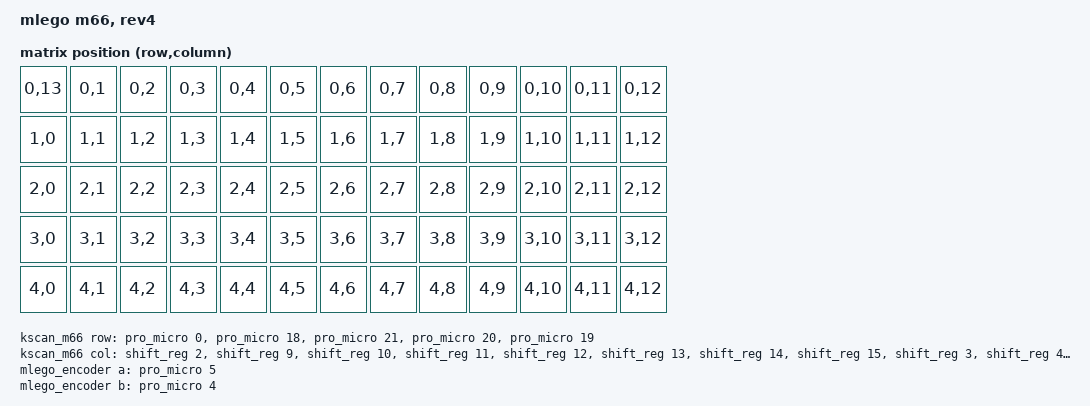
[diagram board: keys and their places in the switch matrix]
/*
 * Copyright (c) 2022-2024 alin m elena
 * SPDX-License-Identifier: MIT
 */

#include <dt-bindings/zmk/matrix_transform.h>
#include <physical_layouts.dtsi>

/ {
   model = "mlego m66, rev4";

   //compatible = "nice-nano-v2";

    m66_layout: m66_layout {
        compatible = "zmk,physical-layout";
        display-name = "m66 default layout";
        kscan = <&kscan_m66>;
        transform = <&m66>;
        keys  //                     w   h    x    y     rot    rx    ry
            = <&key_physical_attrs 100 100    0    0       0     0     0>
            , <&key_physical_attrs 100 100  100    0       0     0     0>
            , <&key_physical_attrs 100 100  200    0       0     0     0>
            , <&key_physical_attrs 100 100  300    0       0     0     0>
            , <&key_physical_attrs 100 100  400    0       0     0     0>
            , <&key_physical_attrs 100 100  500    0       0     0     0>
            , <&key_physical_attrs 100 100  600    0       0     0     0>
            , <&key_physical_attrs 100 100  700    0       0     0     0>
            , <&key_physical_attrs 100 100  800    0       0     0     0>
            , <&key_physical_attrs 100 100  900    0       0     0     0>
            , <&key_physical_attrs 100 100 1000    0       0     0     0>
            , <&key_physical_attrs 100 100 1100    0       0     0     0>
            , <&key_physical_attrs 100 100 1200    0       0     0     0>
            , <&key_physical_attrs 100 100    0    0       0     0     0>
            , <&key_physical_attrs 100 100    0  100       0     0     0>
            , <&key_physical_attrs 100 100  100  100       0     0     0>
            , <&key_physical_attrs 100 100  200  100       0     0     0>
            , <&key_physical_attrs 100 100  300  100       0     0     0>
            , <&key_physical_attrs 100 100  400  100       0     0     0>
            , <&key_physical_attrs 100 100  500  100       0     0     0>
            , <&key_physical_attrs 100 100  600  100       0     0     0>
            , <&key_physical_attrs 100 100  700  100       0     0     0>
            , <&key_physical_attrs 100 100  800  100       0     0     0>
            , <&key_physical_attrs 100 100  900  100       0     0     0>
            , <&key_physical_attrs 100 100 1000  100       0     0     0>
            , <&key_physical_attrs 100 100 1100  100       0     0     0>
            , <&key_physical_attrs 100 100 1200  100       0     0     0>
            , <&key_physical_attrs 100 100    0  200       0     0     0>
            , <&key_physical_attrs 100 100  100  200       0     0     0>
            , <&key_physical_attrs 100 100  200  200       0     0     0>
            , <&key_physical_attrs 100 100  300  200       0     0     0>
            , <&key_physical_attrs 100 100  400  200       0     0     0>
            , <&key_physical_attrs 100 100  500  200       0     0     0>
            , <&key_physical_attrs 100 100  600  200       0     0     0>
            , <&key_physical_attrs 100 100  700  200       0     0     0>
            , <&key_physical_attrs 100 100  800  200       0     0     0>
            , <&key_physical_attrs 100 100  900  200       0     0     0>
            , <&key_physical_attrs 100 100 1000  200       0     0     0>
            , <&key_physical_attrs 100 100 1100  200       0     0     0>
            , <&key_physical_attrs 100 100 1200  200       0     0     0>
            , <&key_physical_attrs 100 100    0  300       0     0     0>
            , <&key_physical_attrs 100 100  100  300       0     0     0>
            , <&key_physical_attrs 100 100  200  300       0     0     0>
            , <&key_physical_attrs 100 100  300  300       0     0     0>
            , <&key_physical_attrs 100 100  400  300       0     0     0>
            , <&key_physical_attrs 100 100  500  300       0     0     0>
            , <&key_physical_attrs 100 100  600  300       0     0     0>
            , <&key_physical_attrs 100 100  700  300       0     0     0>
            , <&key_physical_attrs 100 100  800  300       0     0     0>
            , <&key_physical_attrs 100 100  900  300       0     0     0>
            , <&key_physical_attrs 100 100 1000  300       0     0     0>
            , <&key_physical_attrs 100 100 1100  300       0     0     0>
            , <&key_physical_attrs 100 100 1200  300       0     0     0>
            , <&key_physical_attrs 100 100    0  400       0     0     0>
            , <&key_physical_attrs 100 100  100  400       0     0     0>
            , <&key_physical_attrs 100 100  200  400       0     0     0>
            , <&key_physical_attrs 100 100  300  400       0     0     0>
            , <&key_physical_attrs 100 100  400  400       0     0     0>
            , <&key_physical_attrs 100 100  500  400       0     0     0>
            , <&key_physical_attrs 100 100  600  400       0     0     0>
            , <&key_physical_attrs 100 100  700  400       0     0     0>
            , <&key_physical_attrs 100 100  800  400       0     0     0>
            , <&key_physical_attrs 100 100  900  400       0     0     0>
            , <&key_physical_attrs 100 100 1000  400       0     0     0>
            , <&key_physical_attrs 100 100 1100  400       0     0     0>
            , <&key_physical_attrs 100 100 1200  400       0     0     0>
            ;
   };

   m66_position_map {
        compatible = "zmk,physical-layout-position-map";
        complete; 
        m66_layout_posmap: m66_layout {
            physical-layout = <&m66_layout>;
            positions
              = < 0  1  2  3  4  5  6  7  8  9 10 11 12 13>
              , <14 15 16 17 18 19 20 21 22 23 24 25 26>
              , <27 28 29 30 31 32 33 34 35 36 37 38 39>
              , <40 41 42 43 44 45 46 47 48 49 50 51 52>
              , <53 54 55 56 57 58 59 60 61 62 63 64 65>
            ;
        };
    };

   chosen {
/*
     zmk,kscan = &kscan_m66;
*/
     zephyr,console = &cdc_acm_uart;
   };

      m66: m66_0 {
        compatible = "zmk,matrix-transform";
        columns = <14>;
        rows = <5>;
/*
┌────┐
│ 0N │
├────┼────┬────┬────┬────┬────┬────┬────┬────┬────┬────┬────┬────┐
│ 0A │ 0B │ 0C │ 0D │ 0E │ 0F │ 0G │ 0H │ 0I │ 0J │ 0K │ 0L │ 0M │ 
├────┼────┼────┼────┼────┼────┼────┼────┼────┼────┼────┼────┼────┤
│ 1A │ 1B │ 1C │ 1D │ 1E │ 1F │ 1G │ 1H │ 1I │ 1J │ 1K │ 1L │ 1M │
├────┼────┼────┼────┼────┼────┼────┼────┼────┼────┼────┼────┼────┤
│ 2A │ 2B │ 2C │ 2D │ 2E │ 2F │ 2G │ 2H │ 2I │ 2J │ 2K │ 2L │ 2M │
├────┼────┼────┼────┼────┼────┼────┼────┼────┼────┼────┼────┼────┤
│ 3A │ 3B │ 3C │ 3D │ 3E │ 3F │ 3G │ 3H │ 3I │ 3J │ 3K │ 3L │ 3M │
├────┼────┼────┼────┼────┼────┼────┼────┼────┼────┼────┼────┼────┤
│ 4A │ 4B │ 4C │ 4D │ 4E │ 4F │ 4G │ 4H │ 4I │ 4J │ 4K │ 4L │ 4M │
└────┴────┴────┴────┴────┴────┴────┴────┴────┴────┴────┴────┴────┘

*/
        map = <
RC(0,0) RC(0,1) RC(0,2) RC(0,3)  RC(0,4) RC(0,5) RC(0,6) RC(0,7)  RC(0,8) RC(0,9) RC(0,10) RC(0,11) RC(0,12) RC(0,13)
RC(1,0) RC(1,1) RC(1,2) RC(1,3)  RC(1,4) RC(1,5) RC(1,6) RC(1,7)  RC(1,8) RC(1,9) RC(1,10) RC(1,11) RC(1,12) 
RC(2,0) RC(2,1) RC(2,2) RC(2,3)  RC(2,4) RC(2,5) RC(2,6) RC(2,7)  RC(2,8) RC(2,9) RC(2,10) RC(2,11) RC(2,12) 
RC(3,0) RC(3,1) RC(3,2) RC(3,3)  RC(3,4) RC(3,5) RC(3,6) RC(3,7)  RC(3,8) RC(3,9) RC(3,10) RC(3,11) RC(3,12) 
RC(4,0) RC(4,1) RC(4,2) RC(4,3)  RC(4,4) RC(4,5) RC(4,6) RC(4,7)  RC(4,8) RC(4,9) RC(4,10) RC(4,11) RC(4,12) 
        >;
    };
   kscan_m66: kscan_m66 {
     compatible = "zmk,kscan-gpio-matrix";
     diode-direction = "col2row";
     wakeup-source; 
     col-gpios =   <&shift_reg 2  (GPIO_ACTIVE_HIGH)>
                 , <&shift_reg 9  (GPIO_ACTIVE_HIGH)>
                 , <&shift_reg 10 (GPIO_ACTIVE_HIGH)>
                 , <&shift_reg 11 (GPIO_ACTIVE_HIGH)>
                 , <&shift_reg 12 (GPIO_ACTIVE_HIGH)>
                 , <&shift_reg 13 (GPIO_ACTIVE_HIGH)>
                 , <&shift_reg 14 (GPIO_ACTIVE_HIGH)>
                 , <&shift_reg 15 (GPIO_ACTIVE_HIGH)>
                 , <&shift_reg 3  (GPIO_ACTIVE_HIGH)>
                 , <&shift_reg 4  (GPIO_ACTIVE_HIGH)>
                 , <&shift_reg 5  (GPIO_ACTIVE_HIGH)>
                 , <&shift_reg 6  (GPIO_ACTIVE_HIGH)>
                 , <&shift_reg 7  (GPIO_ACTIVE_HIGH)>
                 , <&shift_reg 1  (GPIO_ACTIVE_HIGH)>
                 ;
     row-gpios =   <&pro_micro 0  (GPIO_ACTIVE_HIGH | GPIO_PULL_DOWN)>
                 , <&pro_micro 18 (GPIO_ACTIVE_HIGH | GPIO_PULL_DOWN)>
                 , <&pro_micro 21 (GPIO_ACTIVE_HIGH | GPIO_PULL_DOWN)>
                 , <&pro_micro 20 (GPIO_ACTIVE_HIGH | GPIO_PULL_DOWN)>
                 , <&pro_micro 19 (GPIO_ACTIVE_HIGH | GPIO_PULL_DOWN)>
                 ;
   };

   mlego_encoder: mlego_encoder {
     compatible = "alps,ec11";
     a-gpios = <&pro_micro 5 (GPIO_ACTIVE_HIGH )>;
     b-gpios = <&pro_micro 4 (GPIO_ACTIVE_HIGH )>;
     steps = <80>;
   };

   sensors {
     compatible = "zmk,keymap-sensors";
     sensors = <&mlego_encoder>;
     triggers-per-rotation = <20>;
   };
};

&mlego_encoder { 
  status = "okay"; 
};

&pinctrl {
    spi0_default: spi0_default {
        group1 {
            psels =   <NRF_PSEL( SPIM_SCK, 1, 13)> 
                    , <NRF_PSEL(SPIM_MOSI, 0, 10)>
                    , <NRF_PSEL(SPIM_MISO, 1, 11)>
                    ;
        };
    };
    spi0_sleep: spi0_sleep {
        group1 {
            psels =   <NRF_PSEL( SPIM_SCK, 1, 13)> 
                    , <NRF_PSEL(SPIM_MOSI, 0, 10)>
                    , <NRF_PSEL(SPIM_MISO, 1, 11)>
                    ;
            low-power-enable;
        };
    };
};

&pro_micro_i2c {
    status = "disabled";
};

board_spi: &spi0 {
  status = "okay";
  compatible = "nordic,nrf-spim";
  pinctrl-0 = <&spi0_default>;
  pinctrl-1 = <&spi0_sleep>;
  pinctrl-names = "default", "sleep";
  wakeup-source; 
  cs-gpios = <&pro_micro 10 GPIO_ACTIVE_LOW> ;

  shift_reg: 595@0 {
    compatible = "zmk,gpio-595";
    status = "okay";
    wakeup-source; 
    gpio-controller;
    spi-max-frequency = <2000000>;
    #gpio-cells = <2>;
    reg = <0>;
    ngpios = <16>;
  };
};

&usbd {
    status = "okay";
    cdc_acm_uart: cdc_acm_uart {
        compatible = "zephyr,cdc-acm-uart";
    };
};
